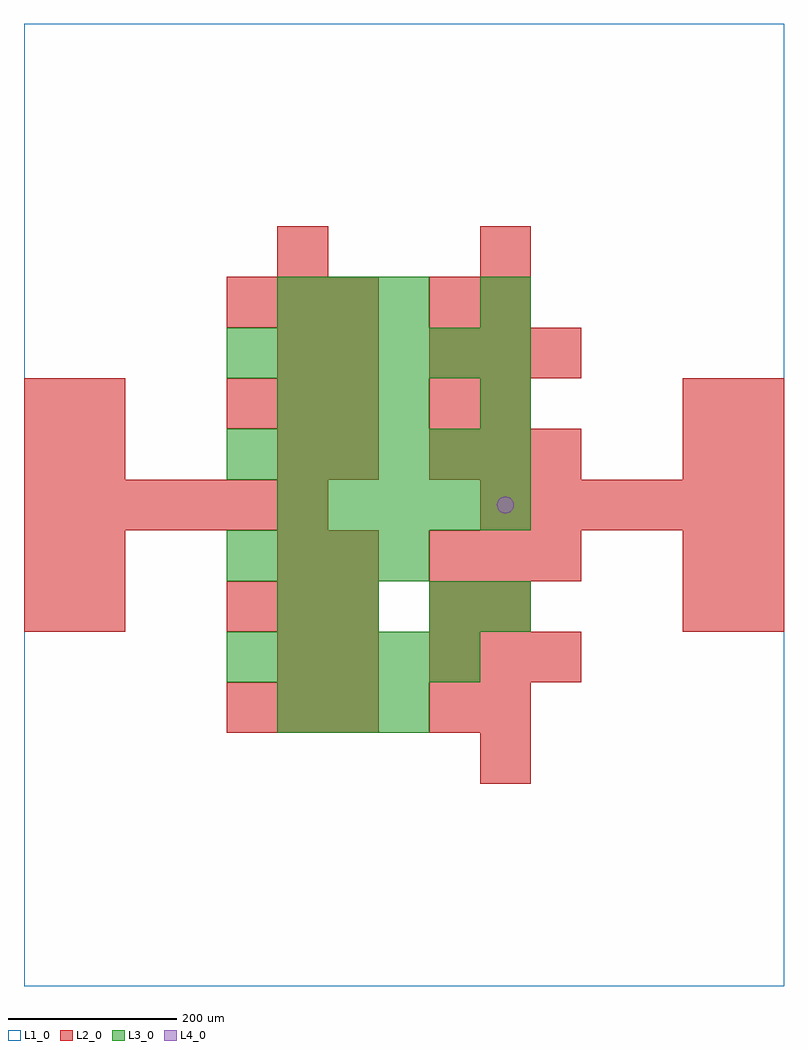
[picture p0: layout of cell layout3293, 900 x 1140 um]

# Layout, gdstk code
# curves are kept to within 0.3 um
import gdstk
lib = gdstk.Library(unit=1e-6, precision=1e-09)
def R(c, l, rs):  # rectangles x0, y0, x1, y1
    for r in rs: c.add(gdstk.rectangle(r[:2], r[2:], *l))
def A(c, l, x, y, w, h, nx, ny, dx, dy):  # array of equal rectangles
    R(c, l, [(x+i*dx, y+j*dy, x+i*dx+w, y+j*dy+h) for i in range(nx) for j in range(ny)])
def P(c, l, *ps):  # polygons
    for p in ps: c.add(gdstk.Polygon(p, *l))
L1_0 = (1, 0)
L2_0 = (2, 0)
L3_0 = (3, 0)
L4_0 = (4, 0)

layout3293 = lib.new_cell('layout3293')
R(layout3293, L1_0, [(0,0,900,1140)])
A(layout3293, L2_0, 240, 300, 60, 60, 3, 2, 60, 120)
A(layout3293, L2_0, 300, 360, 60, 60, 1, 5, 0, 120)
A(layout3293, L2_0, 360, 360, 60, 60, 1, 4, 0, 120)
A(layout3293, L2_0, 480, 360, 60, 60, 3, 4, 60, 120)
A(layout3293, L2_0, 0, 540, 60, 60, 6, 1, 60, 0)
A(layout3293, L2_0, 540, 540, 60, 60, 6, 1, 60, 0)
A(layout3293, L2_0, 240, 660, 60, 60, 3, 2, 60, 120)
R(layout3293, L2_0, [(540,240,600,300), (480,300,540,360), (540,300,600,360), (0,420,60,480), (60,420,120,480), (480,420,540,480), (540,420,600,480), (780,420,840,480), (840,420,900,480), (0,480,60,540), (60,480,120,540), (780,480,840,540), (840,480,900,540), (0,600,60,660), (60,600,120,660), (780,600,840,660), (840,600,900,660), (0,660,60,720), (60,660,120,720), (480,660,540,720), (540,660,600,720), (780,660,840,720), (840,660,900,720), (480,780,540,840), (540,780,600,840), (540,840,600,900)])
A(layout3293, L3_0, 300, 300, 60, 60, 3, 2, 60, 360)
A(layout3293, L3_0, 240, 360, 60, 60, 5, 1, 60, 0)
A(layout3293, L3_0, 240, 480, 60, 60, 4, 1, 60, 0)
A(layout3293, L3_0, 300, 540, 60, 60, 5, 1, 60, 0)
A(layout3293, L3_0, 240, 600, 60, 60, 6, 2, 60, 120)
A(layout3293, L3_0, 300, 780, 60, 60, 3, 1, 60, 0)
R(layout3293, L3_0, [(300,420,360,480), (360,420,420,480), (480,420,540,480), (540,420,600,480), (540,660,600,720), (540,780,600,840)])
P(layout3293, L4_0, [(580,570),(579.239,573.827),(577.071,577.071),(573.827,579.239),(570,580),(566.173,579.239),(562.929,577.071),(560.761,573.827),(560,570),(560.761,566.173),(562.929,562.929),(566.173,560.761),(570,560),(573.827,560.761),(577.071,562.929),(579.239,566.173)])

lib.write_gds('layout3293.gds')
